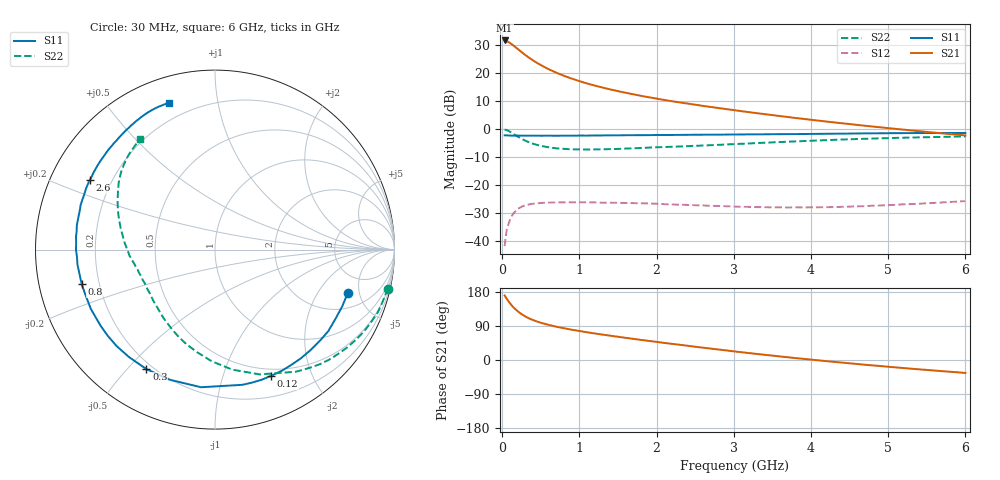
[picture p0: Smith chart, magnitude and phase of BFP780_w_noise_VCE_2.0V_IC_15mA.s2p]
! Infineon Technologies  Discrete & RF Semiconductors
! BFP780
! VCE =  2.0 V,  IC =  15 mA
! Common Emitter S-Parameters:  Jul 2015
# GHz  S  MA  R  50
!  f  S11  S21  S12  S22
! GHz  MAG  ANG  MAG  ANG  MAG  ANG  MAG  ANG
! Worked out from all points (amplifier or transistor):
!   75 points, 30 MHz to 6 GHz, reference 50 ohm
!   highest |S21| = 31.7 dB at 30 MHz (marker M1)
!   |S21| within 3 dB of that: start of sweep to 198.3 MHz
!   unconditionally stable (mu >= 1): 2.519 GHz to end of sweep
!   at 150 MHz: K = 0.05, MSG = 29.8 dB, |S12| = -29.9 dB
!   at 2.3 GHz: K = 0.91, MSG = 18.2 dB, |S12| = -26.9 dB
!   at 6 GHz: K = 1.61, MAG = 7.1 dB, |S12| = -25.6 dB
!   lowest NFmin = 0.87 dB at 450 MHz
!   S11 on the Smith chart (normalised r, x): 30 MHz: 3.10, -3.83; 120 MHz: 0.42, -1.46; 300 MHz: 0.17, -0.57; 800 MHz: 0.13, -0.12; 2.6 GHz: 0.12, +0.26; 6 GHz: 0.12, +0.73
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0.03  0.7782 -18.2  38.31 170.3  0.0082 80.2  0.9878 -12.7
0.05  0.774 -29.7  37.68 163.7  0.0135 81.3  0.9723 -21.0
0.08  0.7726 -46.4  35.93 155.0  0.0205 65.6  0.9312 -32.8
0.09  0.7719 -51.6  35.24 152.2  0.0217 64.5  0.916 -36.6
0.12  0.7696 -66.0  33 144.6  0.028 56.9  0.8667 -47.3
0.15  0.7686 -78.6  30.76 137.9  0.0321 51.2  0.8154 -56.6
0.2  0.7708 -95.8  27 128.6  0.0378 42.4  0.7386 -70.3
0.25  0.7678 -109.3  23.81 120.9  0.0415 35.4  0.6757 -81.8
0.3  0.7675 -119.9  21 114.7  0.0441 30.1  0.6228 -91.6
0.35  0.7669 -128.7  18.74 109.5  0.0457 26.0  0.5813 -99.7
0.4  0.7677 -135.6  16.84 105.2  0.0469 23.2  0.5501 -106.9
0.5  0.7656 -146.4  13.91 98.2  0.0483 17.2  0.5043 -118.4
0.6  0.7667 -154.4  11.79 92.6  0.0492 13.7  0.4761 -127.4
0.8  0.7673 -165.6  8.965 83.8  0.0495 8.4  0.446 -140.7
1.1  0.7701 -177.0  6.536 73.1  0.0495 3.3  0.4337 -154.0
1.5  0.7776 172.4  4.773 61.3  0.0486 -0.7  0.4453 -165.5
2.1  0.7893 160.0  3.325 45.1  0.046 -5.1  0.4805 -177.4
2.6  0.7981 151.0  2.608 32.5  0.0437 -6.3  0.512 173.5
3.1  0.8067 142.7  2.098 20.5  0.0413 -5.1  0.5499 164.7
4.1  0.8268 127.9  1.421 -1.0  0.0405 1.0  0.6303 149.1
5.1  0.8508 116.1  1.013 -19.6  0.045 6.0  0.6998 135.7
6  0.8572 107.5  0.775 -34.1  0.0522 6.8  0.7429 124.1
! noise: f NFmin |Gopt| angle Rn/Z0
0.45  0.87  0.15  114  0.08
0.9  0.93  0.21  148  0.07
1.5  1.06  0.3  165  0.06
1.8  1.28  0.4  -180  0.06
2.4  1.48  0.46  -167  0.08
3  1.85  0.5  -151  0.12
3.5  2.47  0.57  -133  0.22
